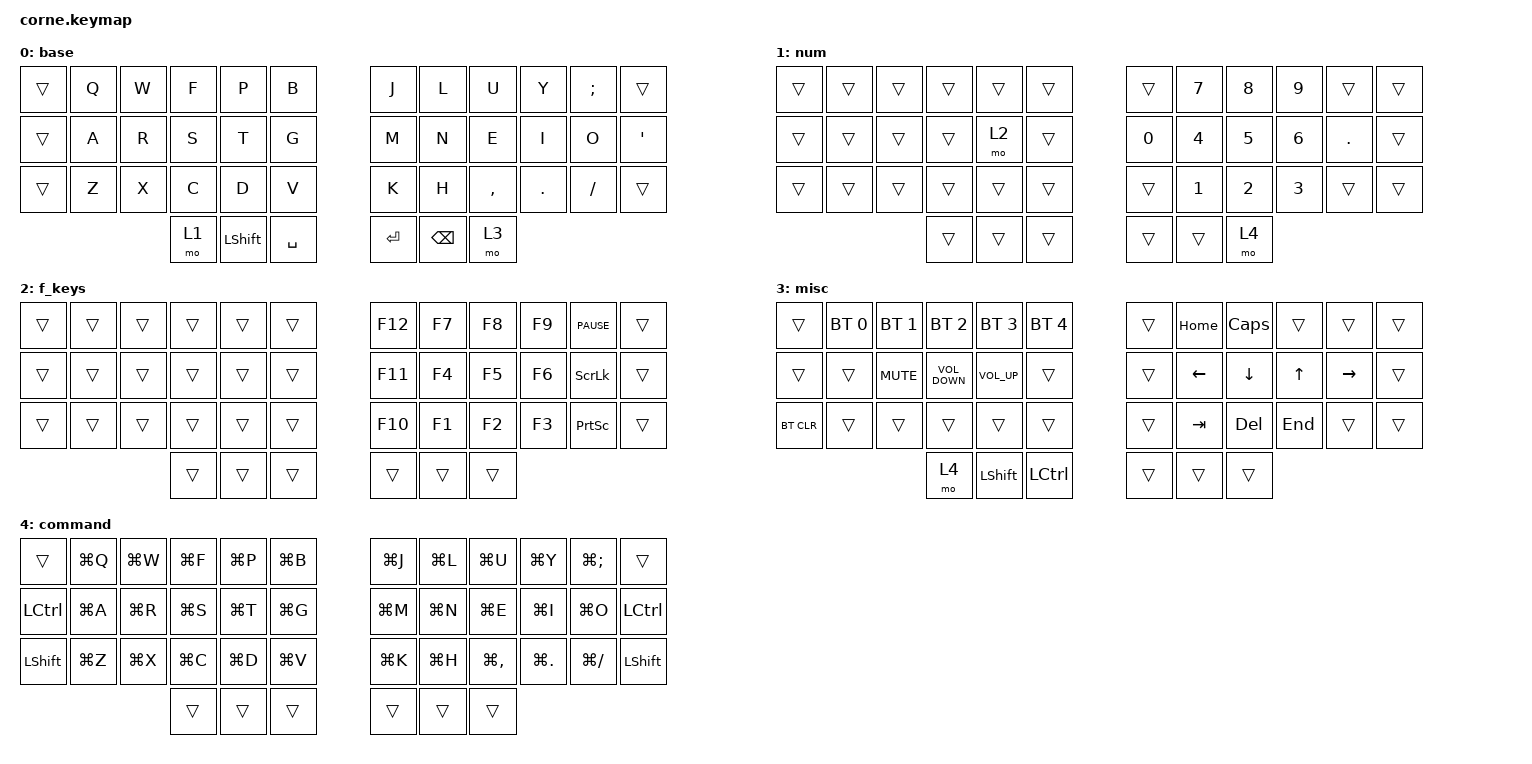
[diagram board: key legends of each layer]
/*
 * Copyright (c) 2020 The ZMK Contributors
 *
 * SPDX-License-Identifier: MIT
 */

#include <behaviors.dtsi>
#include <dt-bindings/zmk/bt.h>
#include <dt-bindings/zmk/keys.h>

/ {
    combos {
        compatible = "zmk,combos";

        LeftControl {
            bindings = <&kp LEFT_CONTROL>;
            key-positions = <2 14>;
        };

        LeftAlt {
            bindings = <&kp LEFT_ALT>;
            key-positions = <3 15>;
        };

        LeftCommand {
            bindings = <&kp LEFT_WIN>;
            key-positions = <4 16>;
        };

        RightControl {
            bindings = <&kp LEFT_CONTROL>;
            key-positions = <9 21>;
        };

        RightAlt {
            bindings = <&kp LEFT_ALT>;
            key-positions = <8 20>;
        };

        RightCommand {
            bindings = <&kp LEFT_WIN>;
            key-positions = <7 19>;
        };

        LeftEnter {
            bindings = <&kp ENTER>;
            key-positions = <16 15 14>;
        };

        RightEnter {
            bindings = <&kp ENTER>;
            key-positions = <19 20 21>;
        };

        LeftTab {
            bindings = <&kp TAB>;
            key-positions = <13 14 15>;
        };

        RightTab {
            bindings = <&kp TAB>;
            key-positions = <22 21 20>;
        };

        LeftEscape {
            bindings = <&kp ESCAPE>;
            key-positions = <4 3 2>;
        };

        RightEscape {
            bindings = <&kp ESCAPE>;
            key-positions = <7 8 9>;
        };

        Equals {
            bindings = <&kp KP_EQUAL>;
            key-positions = <7 8>;
        };

        Minus {
            bindings = <&kp KP_SUBTRACT>;
            key-positions = <19 20>;
        };

        Underscore {
            bindings = <&kp UNDERSCORE>;
            key-positions = <31 32>;
        };

        plus {
            bindings = <&kp PLUS>;
            key-positions = <19 21>;
        };

        LBracket {
            bindings = <&kp LEFT_BRACKET>;
            key-positions = <3 2>;
        };

        RBracket {
            bindings = <&kp RIGHT_BRACKET>;
            key-positions = <4 3>;
        };

        LBrace {
            bindings = <&kp LEFT_BRACE>;
            key-positions = <27 26>;
        };

        RBrace {
            bindings = <&kp RIGHT_BRACE>;
            key-positions = <28 27>;
        };

        LParen {
            bindings = <&kp LEFT_PARENTHESIS>;
            key-positions = <15 14>;
        };

        RParen {
            bindings = <&kp RIGHT_PARENTHESIS>;
            key-positions = <16 15>;
        };

        ForwardSlash {
            bindings = <&kp SLASH>;
            key-positions = <20 31>;
        };

        BackSlash {
            bindings = <&kp BACKSLASH>;
            key-positions = <19 32>;
        };

        Pipe {
            bindings = <&kp PIPE>;
            key-positions = <31 8>;
        };

        Caret {
            bindings = <&kp CARET>;
            key-positions = <19 8 21>;
        };

        Grave {
            bindings = <&kp GRAVE>;
            key-positions = <20 7>;
        };

        Tilde {
            bindings = <&kp TILDE>;
            key-positions = <19 9>;
        };

        Percent {
            bindings = <&kp PERCENT>;
            key-positions = <31 20 33>;
        };

        Bang {
            bindings = <&kp EXCL>;
            key-positions = <7 8 21>;
        };

        Question {
            bindings = <&kp QUESTION>;
            key-positions = <19 20 9>;
        };

        Money {
            bindings = <&kp DOLLAR>;
            key-positions = <32 21 31>;
        };

        AtSign {
            bindings = <&kp AT>;
            key-positions = <7 20 21>;
        };

        Ampersand {
            bindings = <&kp AMPERSAND>;
            key-positions = <20 21 19 22>;
        };

        Asterisk {
            bindings = <&kp ASTERISK>;
            key-positions = <33 31>;
        };

        SemiColon {
            bindings = <&kp SEMI>;
            key-positions = <33 32>;
        };

        Hashtag {
            bindings = <&kp HASH>;
            key-positions = <7 9>;
        };

        LeftBackspace {
            bindings = <&kp BACKSPACE>;
            key-positions = <16 15 13 14>;
        };

        ControlLayer {
            bindings = <&mo 4>;
            key-positions = <36 41>;
        };
    };

    keymap {
        compatible = "zmk,keymap";

        base {
            // -----------------------------------------------------------------------------------------
            // |  TAB |  Q  |  W  |  E  |  R  |  T  |   |  Y  |  U   |  I  |  O  |  P  | BSPC |
            // | CTRL |  A  |  S  |  D  |  F  |  G  |   |  H  |  J   |  K  |  L  |  ;  |  '   |
            // | SHFT |  Z  |  X  |  C  |  V  |  B  |   |  N  |  M   |  ,  |  .  |  /  | ESC  |
            //                    | GUI | LWR | SPC |   | ENT | RSE  | ALT |

            bindings = <
&trans  &kp Q  &kp W  &kp F  &kp P           &kp B        &kp J      &kp L          &kp U      &kp Y    &kp SEMICOLON  &trans
&trans  &kp A  &kp R  &kp S  &kp T           &kp G        &kp M      &kp N          &kp E      &kp I    &kp O          &kp SQT
&trans  &kp Z  &kp X  &kp C  &kp D           &kp V        &kp K      &kp H          &kp COMMA  &kp DOT  &kp SLASH      &trans
                      &mo 1  &kp LEFT_SHIFT  &kp SPACE    &kp ENTER  &kp BACKSPACE  &mo 3
            >;
        };

        num {
            bindings = <
&trans  &trans  &trans  &trans  &trans  &trans    &trans        &kp N7  &kp N8  &kp N9  &trans   &trans
&trans  &trans  &trans  &trans  &mo 2   &trans    &kp NUMBER_0  &kp N4  &kp N5  &kp N6  &kp DOT  &trans
&trans  &trans  &trans  &trans  &trans  &trans    &trans        &kp N1  &kp N2  &kp N3  &trans   &trans
                        &trans  &trans  &trans    &trans        &trans  &mo 4
            >;
        };

        f_keys {
            bindings = <
&trans  &trans  &trans  &trans  &trans  &trans    &kp F12  &kp F7  &kp F8  &kp F9  &kp C_PAUSE      &trans
&trans  &trans  &trans  &trans  &trans  &trans    &kp F11  &kp F4  &kp F5  &kp F6  &kp SLCK         &trans
&trans  &trans  &trans  &trans  &trans  &trans    &kp F10  &kp F1  &kp F2  &kp F3  &kp PRINTSCREEN  &trans
                        &trans  &trans  &trans    &trans   &trans  &trans
            >;
        };

        misc {
            bindings = <
&trans      &bt BT_SEL 0  &bt BT_SEL 1  &bt BT_SEL 2       &bt BT_SEL 3     &bt BT_SEL 4    &trans  &kp HOME  &kp CAPS        &trans        &trans     &trans
&trans      &trans        &kp K_MUTE    &kp K_VOLUME_DOWN  &kp K_VOLUME_UP  &trans          &trans  &kp LEFT  &kp DOWN_ARROW  &kp UP_ARROW  &kp RIGHT  &trans
&bt BT_CLR  &trans        &trans        &trans             &trans           &trans          &trans  &kp TAB   &kp DELETE      &kp END       &trans     &trans
                                        &mo 4              &kp LEFT_SHIFT   &kp LCTRL       &trans  &trans    &trans
            >;
        };

        command {
            bindings = <
&trans            &kp LG(Q)  &kp LG(W)  &kp LG(F)  &kp LG(P)  &kp LG(B)    &kp LG(J)  &kp LG(L)  &kp LG(U)      &kp LG(Y)    &kp LG(SEMICOLON)  &trans
&kp LEFT_CONTROL  &kp LG(A)  &kp LG(R)  &kp LG(S)  &kp LG(T)  &kp LG(G)    &kp LG(M)  &kp LG(N)  &kp LG(E)      &kp LG(I)    &kp LG(O)          &kp LEFT_CONTROL
&kp LEFT_SHIFT    &kp LG(Z)  &kp LG(X)  &kp LG(C)  &kp LG(D)  &kp LG(V)    &kp LG(K)  &kp LG(H)  &kp LG(COMMA)  &kp LG(DOT)  &kp LG(SLASH)      &kp LEFT_SHIFT
                                        &trans     &trans     &trans       &trans     &trans     &trans
            >;
        };
    };
};
